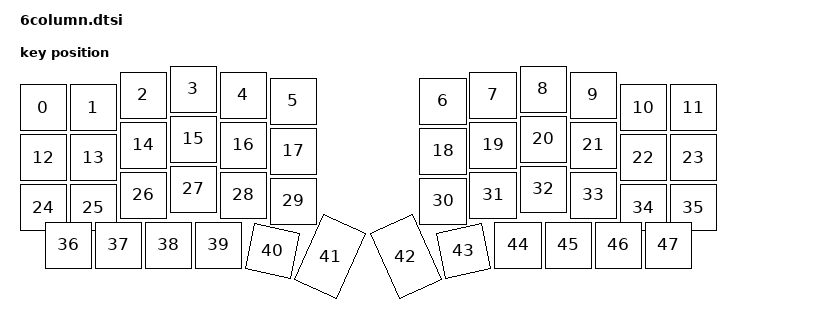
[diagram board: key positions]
#include <layouts/foostan/corne/position_map.dtsi>
#include <physical_layouts.dtsi>

/ {
    foostan_corne_6col_layout: foostan_corne_6col_layout {
        compatible = "zmk,physical-layout";
        display-name = "6 Column";

        keys  //                     w   h    x    y     rot    rx    ry
            = <&key_physical_attrs 100 100    0   37       0     0     0>
            , <&key_physical_attrs 100 100  100   37       0     0     0>
            , <&key_physical_attrs 100 100  200   12       0     0     0>
            , <&key_physical_attrs 100 100  300    0       0     0     0>
            , <&key_physical_attrs 100 100  400   12       0     0     0>
            , <&key_physical_attrs 100 100  500   24       0     0     0>
            , <&key_physical_attrs 100 100  800   24       0     0     0>
            , <&key_physical_attrs 100 100  900   12       0     0     0>
            , <&key_physical_attrs 100 100 1000    0       0     0     0>
            , <&key_physical_attrs 100 100 1100   12       0     0     0>
            , <&key_physical_attrs 100 100 1200   37       0     0     0>
            , <&key_physical_attrs 100 100 1300   37       0     0     0>
            , <&key_physical_attrs 100 100    0  137       0     0     0>
            , <&key_physical_attrs 100 100  100  137       0     0     0>
            , <&key_physical_attrs 100 100  200  112       0     0     0>
            , <&key_physical_attrs 100 100  300  100       0     0     0>
            , <&key_physical_attrs 100 100  400  112       0     0     0>
            , <&key_physical_attrs 100 100  500  124       0     0     0>
            , <&key_physical_attrs 100 100  800  124       0     0     0>
            , <&key_physical_attrs 100 100  900  112       0     0     0>
            , <&key_physical_attrs 100 100 1000  100       0     0     0>
            , <&key_physical_attrs 100 100 1100  112       0     0     0>
            , <&key_physical_attrs 100 100 1200  137       0     0     0>
            , <&key_physical_attrs 100 100 1300  137       0     0     0>
            , <&key_physical_attrs 100 100    0  237       0     0     0>
            , <&key_physical_attrs 100 100  100  237       0     0     0>
            , <&key_physical_attrs 100 100  200  212       0     0     0>
            , <&key_physical_attrs 100 100  300  200       0     0     0>
            , <&key_physical_attrs 100 100  400  212       0     0     0>
            , <&key_physical_attrs 100 100  500  224       0     0     0>
            , <&key_physical_attrs 100 100  800  224       0     0     0>
            , <&key_physical_attrs 100 100  900  212       0     0     0>
            , <&key_physical_attrs 100 100 1000  200       0     0     0>
            , <&key_physical_attrs 100 100 1100  212       0     0     0>
            , <&key_physical_attrs 100 100 1200  237       0     0     0>
            , <&key_physical_attrs 100 100 1300  237       0     0     0>
            // --- Bottom Row (12 Keys Total: 6 Left / 6 Right) ---
            , <&key_physical_attrs 100 100   50  312       0     0     0>  // NEW: Far Left Thumb 1 (Pos 36)
            , <&key_physical_attrs 100 100  150  312       0     0     0>  // NEW: Far Left Thumb 2 (Pos 37)
            , <&key_physical_attrs 100 100  250  312       0     0     0>  // NEW: Far Left Thumb 3 (Pos 38)
            , <&key_physical_attrs 100 100  350  312       0     0     0>  // (Pos 39)
            , <&key_physical_attrs 100 100  450  312    1200   450   412>  // (Pos 40)
            , <&key_physical_attrs 100 150  548  283    2400   548   433>  // (Pos 41)
            , <&key_physical_attrs 100 150  752  283  (-2400)  852   433>  // (Pos 42)
            , <&key_physical_attrs 100 100  850  312  (-1200)  950   412>  // (Pos 43)
            , <&key_physical_attrs 100 100  950  312       0     0     0>  // (Pos 44)
            , <&key_physical_attrs 100 100 1050  312       0     0     0>  // NEW: Far Right Thumb 3 (Pos 45)
            , <&key_physical_attrs 100 100 1150  312       0     0     0>  // NEW: Far Right Thumb 2 (Pos 46)
            , <&key_physical_attrs 100 100 1250  312       0     0     0>  // NEW: Far Right Thumb 1 (Pos 47)
        ;
    };
};

&layouts_foostan_corne_position_map {
    foostan_corne_6col_posmap: six {
        physical-layout = <&foostan_corne_6col_layout>;
        positions
            = < 0  1  2  3  4  5  6  7  8  9 10 11>
            , <12 13 14 15 16 17 18 19 20 21 22 23>
            , <24 25 26 27 28 29 30 31 32 33 34 35>
            , <36 37 38 39 40 41 42 43 44 45 46 47 >; // 12 total keys mapped sequentially
    };
};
